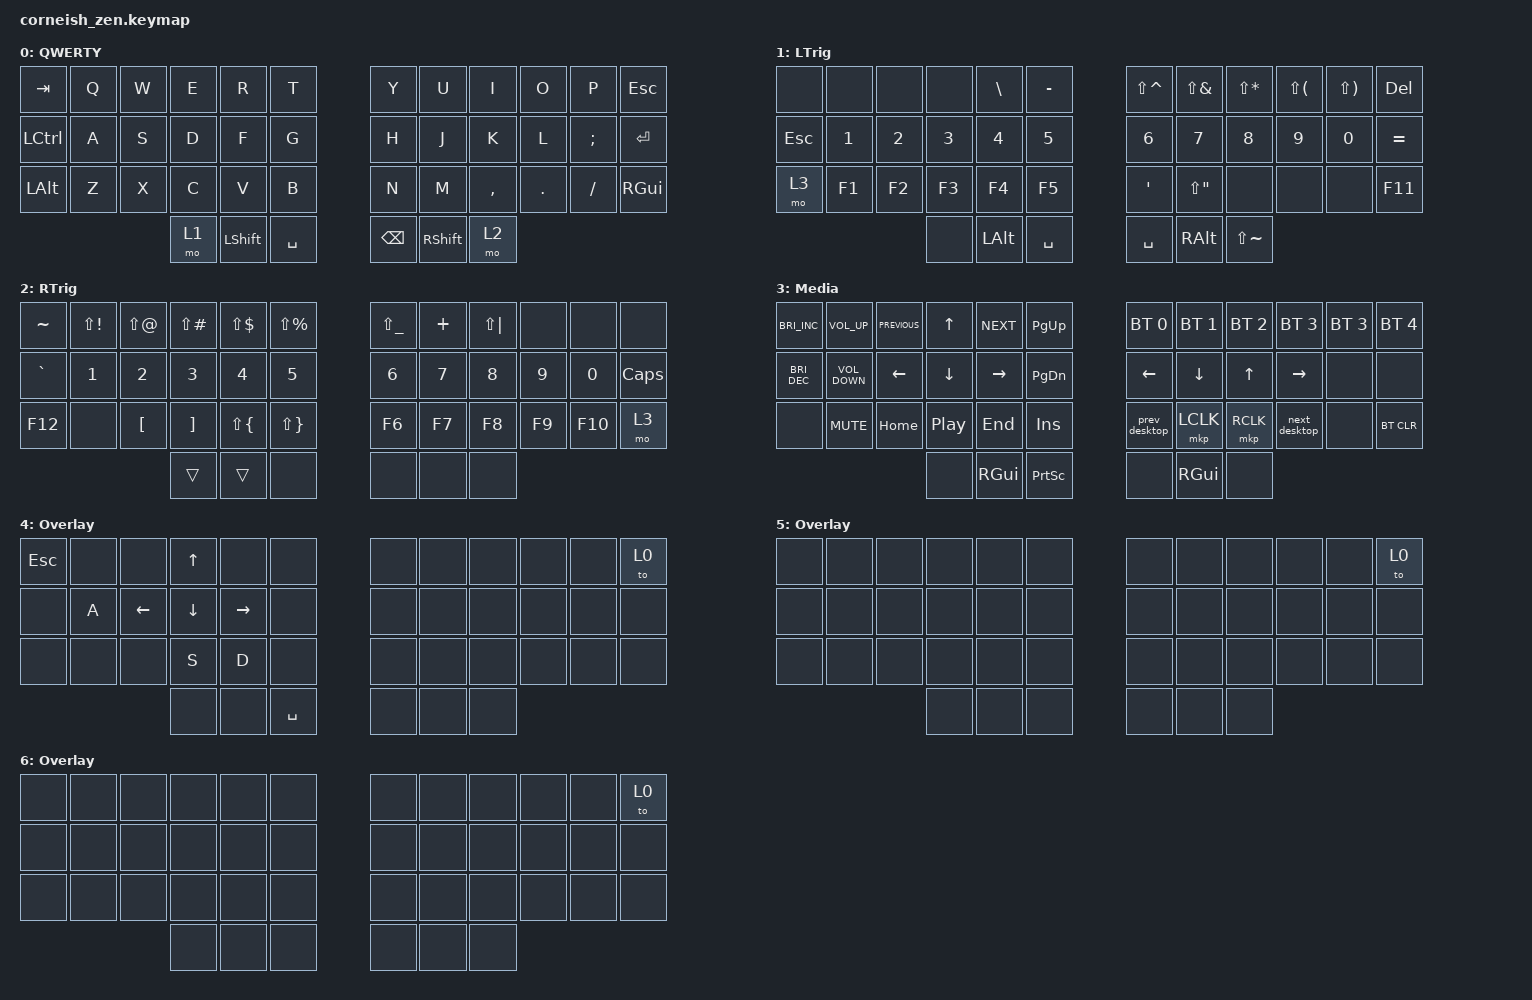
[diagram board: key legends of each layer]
/*
 * Copyright (c) 2020 The ZMK Contributors
 *
 * SPDX-License-Identifier: MIT
 */

#include <dt-bindings/zmk/mouse.h>
#include <behaviors.dtsi>
#include <dt-bindings/zmk/bt.h>
#include <dt-bindings/zmk/keys.h>
#include <dt-bindings/zmk/pointing.h>

/ {
    chosen {
        zmk,matrix_transform = &default_transform;

        // zmk,matrix_transform = &five_column_transform;
    };
};

/ {
    behaviors {
        td0: td0 {
            compatible = "zmk,behavior-tap-dance";
            label = "TD0";
            #binding-cells = <0>;
            bindings = <&kp LEFT_SHIFT>, <&kp CAPS>;
        };
    };

    macros {
        prev_desktop: prev_desktop {
            compatible = "zmk,behavior-macro";
            #binding-cells = <0>;
            bindings = <&kp LC(LG(LEFT_ARROW))>;
            label = "PREV_DESKTOP";
        };

        next_desktop: next_desktop {
            compatible = "zmk,behavior-macro";
            #binding-cells = <0>;
            bindings = <&kp LC(LG(RIGHT_ARROW))>;
            label = "NEXT_DESKTOP";
        };
    };

    keymap {
        compatible = "zmk,keymap";

        default_layer {
            display-name = "QWERTY";

            // --------------------------------------------------------------------------------
            // |  TAB |  Q  |  W  |  E  |  R  |  T  |   |  Y  |  U   |  I  |  O  |  P  | BKSP |
            // | CTRL |  A  |  S  |  D  |  F  |  G  |   |  H  |  J   |  K  |  L  |  ;  |  '   | 
            // | SHFT |  Z  |  X  |  C  |  V  |  B  |   |  N  |  M   |  ,  |  .  |  /  | ESC  |
            //                    | GUI | LWR | SPC |   | ENT | RSE  | ALT |

            bindings = <
&kp TAB       &kp Q  &kp W  &kp E  &kp R           &kp T        &kp Y          &kp U       &kp I      &kp O    &kp P     &kp ESCAPE
&kp LCTRL     &kp A  &kp S  &kp D  &kp F           &kp G        &kp H          &kp J       &kp K      &kp L    &kp SEMI  &kp RETURN
&kp LEFT_ALT  &kp Z  &kp X  &kp C  &kp V           &kp B        &kp N          &kp M       &kp COMMA  &kp DOT  &kp FSLH  &kp RIGHT_GUI
                            &mo 1  &kp LEFT_SHIFT  &kp SPACE    &kp BACKSPACE  &kp RSHIFT  &mo 2
            >;
        };

        l_primer {
            display-name = "LTrig";
            bindings = <
&none    &none   &none   &none   &kp BACKSLASH  &kp MINUS    &kp LS(CARET)  &kp LS(AMPS)  &kp LS(STAR)   &kp LS(LPAR)  &kp LS(RPAR)  &kp DEL
&kp ESC  &kp N1  &kp N2  &kp N3  &kp N4         &kp N5       &kp N6         &kp N7        &kp N8         &kp N9        &kp N0        &kp EQUAL
&mo 3    &kp F1  &kp F2  &kp F3  &kp F4         &kp F5       &kp SQT        &kp LS(DQT)   &none          &none         &none         &kp F11
                         &none   &kp LALT       &kp SPACE    &kp SPACE      &kp RALT      &kp LS(TILDE)
            >;
        };

        r_primer {
            display-name = "RTrig";
            bindings = <
&kp TILDE  &kp LS(EXCL)  &kp LS(AT)  &kp LS(POUND)  &kp LS(DLLR)  &kp LS(PRCNT)    &kp LS(UNDER)  &kp PLUS  &kp LS(PIPE)  &none   &none    &none
&kp GRAVE  &kp N1        &kp N2      &kp N3         &kp N4        &kp N5           &kp N6         &kp N7    &kp N8        &kp N9  &kp N0   &kp CAPS
&kp F12    &none         &kp LBKT    &kp RBKT       &kp LS(LBRC)  &kp LS(RBRC)     &kp F6         &kp F7    &kp F8        &kp F9  &kp F10  &mo 3
                                     &trans         &trans        &none            &none          &none     &none
            >;
        };

        media {
            display-name = "Media";
            bindings = <
&kp C_BRIGHTNESS_INC  &kp C_VOLUME_UP    &kp C_PREVIOUS  &kp UP_ARROW      &kp C_NEXT     &kp PAGE_UP        &bt BT_SEL 0    &bt BT_SEL 1    &bt BT_SEL 2  &bt BT_SEL 3     &bt BT_SEL 3  &bt BT_SEL 4
&kp C_BRIGHTNESS_DEC  &kp C_VOLUME_DOWN  &kp LEFT        &kp DOWN          &kp RIGHT      &kp PAGE_DOWN      &kp LEFT_ARROW  &kp DOWN_ARROW  &kp UP_ARROW  &kp RIGHT_ARROW  &none         &none
&none                 &kp C_MUTE         &kp HOME        &kp C_PLAY_PAUSE  &kp END        &kp INSERT         &prev_desktop   &mkp LCLK       &mkp RCLK     &next_desktop    &none         &bt BT_CLR
                                                         &none             &kp RIGHT_GUI  &kp PRINTSCREEN    &none           &kp RIGHT_GUI   &none
            >;
        };

        layer_4 {
            display-name = "Overlay";
            bindings = <
&kp ESCAPE  &none  &none           &kp UP_ARROW  &none      &none        &none  &none  &none  &none  &none  &to 0
&none       &kp A  &kp LEFT_ARROW  &kp DOWN      &kp RIGHT  &none        &none  &none  &none  &none  &none  &none
&none       &none  &none           &kp S         &kp D      &none        &none  &none  &none  &none  &none  &none
                                   &none         &none      &kp SPACE    &none  &none  &none
            >;
        };

        layer_5 {
            display-name = "Overlay";
            bindings = <
&none  &none  &none  &none  &none  &none    &none  &none  &none  &none  &none  &to 0
&none  &none  &none  &none  &none  &none    &none  &none  &none  &none  &none  &none
&none  &none  &none  &none  &none  &none    &none  &none  &none  &none  &none  &none
                     &none  &none  &none    &none  &none  &none
            >;
        };

        layer_6 {
            display-name = "Overlay";
            bindings = <
&none  &none  &none  &none  &none  &none    &none  &none  &none  &none  &none  &to 0
&none  &none  &none  &none  &none  &none    &none  &none  &none  &none  &none  &none
&none  &none  &none  &none  &none  &none    &none  &none  &none  &none  &none  &none
                     &none  &none  &none    &none  &none  &none
            >;
        };
    };
};
